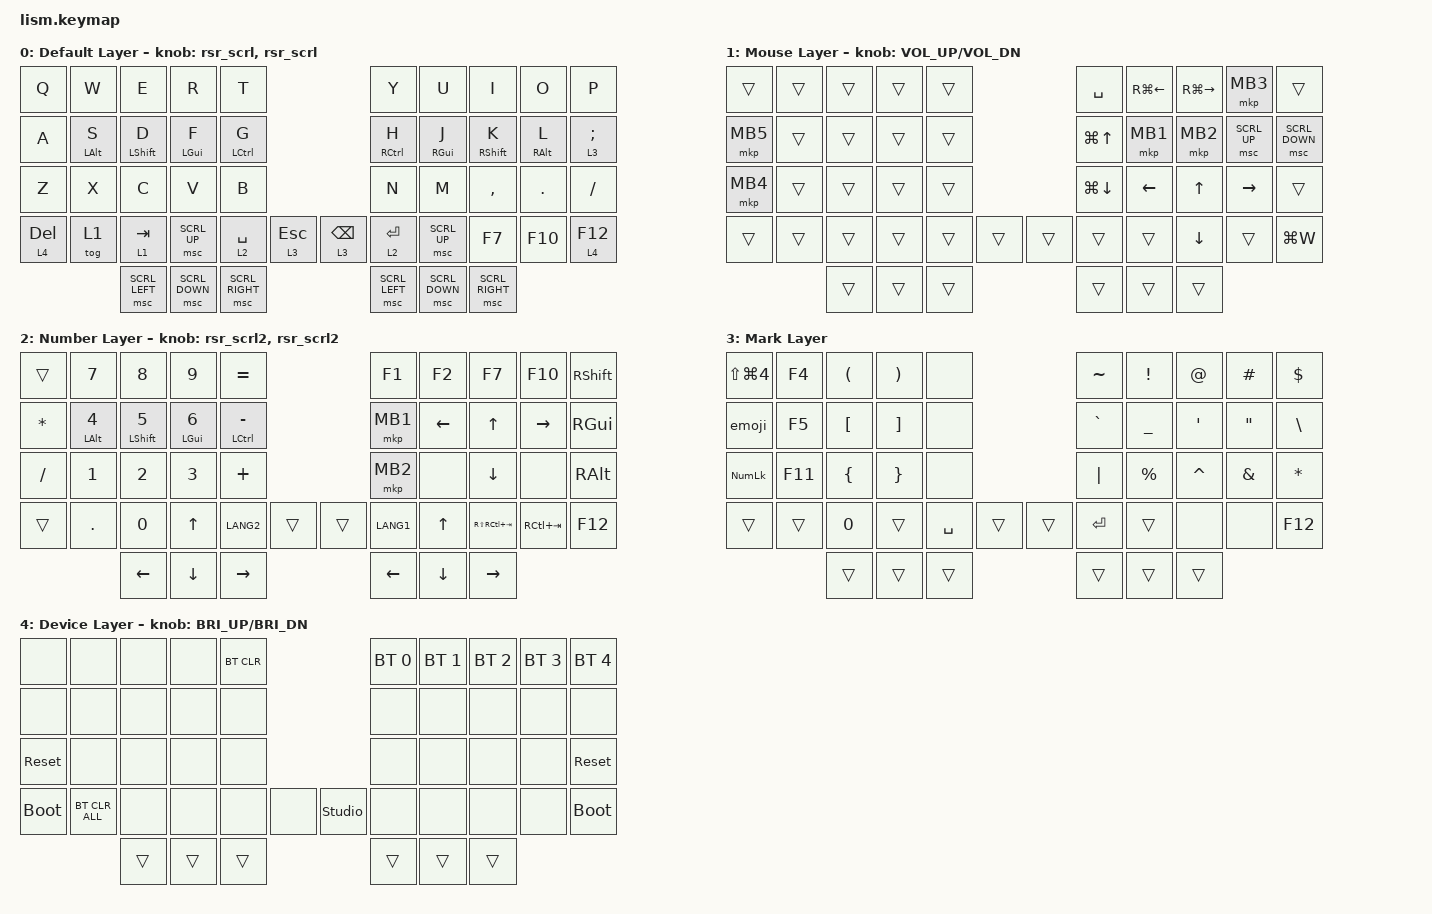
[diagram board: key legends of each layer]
#define ZMK_POINTING_DEFAULT_SCRL_VAL 100

#include <behaviors.dtsi>
#include <dt-bindings/zmk/bt.h>
#include <dt-bindings/zmk/keys.h>
#include <dt-bindings/zmk/pointing.h>
#include <dt-bindings/zmk/mouse.h>
#include <behaviors/runtime-sensor-rotate.dtsi>
#include <behaviors/default_layer.dtsi>
#include <dt-bindings/zmk_behavior_default_layer/default_layer.h>

&mt {
    tapping-term-ms = <300>;
    flavor = "balanced";
};

&lt {
    quick-tap-ms = <300>;
};


/ {
    macros {
        emoji: emoji_macro {
            compatible = "zmk,behavior-macro";
            label = "EMOJI";
            #binding-cells = <0>;
            bindings = 
                <&macro_press &kp CAPSLOCK>,
                <&macro_tap &kp E>,
                <&macro_release &kp CAPSLOCK>;
        };
    };

    behaviors {
        encoder_kp: sensor_rotate_kp {
            compatible = "zmk,behavior-sensor-rotate-var";
            #sensor-binding-cells = <2>;
            bindings = <&kp>, <&kp>;
        };

        rsr_scrl: rsr_scrl {
            compatible = "zmk,behavior-runtime-sensor-rotate";
            #sensor-binding-cells = <0>;
            tap-ms = <20>;
            cw-binding = <&msc SCRL_DOWN>;
            ccw-binding = <&msc SCRL_UP>;
        };
        rsr_scrl2: rsr_scrl2 {
            compatible = "zmk,behavior-runtime-sensor-rotate";
            #sensor-binding-cells = <0>;
            tap-ms = <80>;
            cw-binding = <&msc SCRL_DOWN>;
            ccw-binding = <&msc SCRL_UP>;
        };
    };

    keymap {
        compatible = "zmk,keymap";

        default_layer {
            display-name = "Default Layer";
            bindings = <
                &kp Q            &kp W              &kp E                 &kp R                   &kp T                                                  &kp Y          &kp U            &kp I              &kp O               &kp P
                &kp A            &mt LALT S         &mt LSHIFT D          &mt LGUI F              &mt LCTRL G                                            &mt RCTRL H    &mt RGUI J       &mt RSHIFT K       &mt RALT L          &lt 3 SEMICOLON
                &kp Z            &kp X              &kp C                 &kp V                   &kp B                                                  &kp N          &kp M            &kp COMMA          &kp DOT             &kp SLASH
                &lt 4 DELETE     &tog 1             &lt 1 TAB             &msc SCRL_UP            &lt 2 SPACE       &lt 3 ESC           &lt 3 BACKSPACE  &lt 2 ENTER    &msc SCRL_UP     &kp F7             &kp F10             &lt 4 F12 
                                                    &msc SCRL_LEFT        &msc SCRL_DOWN          &msc SCRL_RIGHT                                        &msc SCRL_LEFT &msc SCRL_DOWN   &msc SCRL_RIGHT
            >;
            sensor-bindings = <&rsr_scrl &rsr_scrl>;
        };

        layer_1 {
            display-name = "Mouse Layer";
            bindings = <
                &trans           &trans             &trans                &trans                  &trans                                                 &kp SPACE      &kp RG(LEFT)     &kp RG(RIGHT)      &mkp MB3            &trans
                &mkp MB5         &trans             &trans                &trans                  &trans                                                 &kp LG(UP)     &mkp MB1         &mkp MB2           &msc SCRL_UP        &msc SCRL_DOWN
                &mkp MB4         &trans             &trans                &trans                  &trans                                                 &kp LG(DOWN)   &kp LEFT         &kp UP             &kp RIGHT           &trans
                &trans           &trans             &trans                &trans                  &trans            &trans              &trans           &trans         &trans           &kp DOWN           &trans              &kp LG(W)
                                                    &trans                &trans                  &trans                                                 &trans         &trans           &trans
            >;
            sensor-bindings = <&encoder_kp C_VOL_UP C_VOL_DN>;
        };

        layer_2 {
            display-name = "Number Layer";
            bindings = <
                &trans           &kp NUMBER_7       &kp NUMBER_8          &kp NUMBER_9            &kp EQUAL                                              &kp F1         &kp F2           &kp F7             &kp F10             &kp RSHIFT
                &kp ASTERISK     &mt LALT NUMBER_4  &mt LSHIFT NUMBER_5   &mt LGUI NUMBER_6       &mt LCTRL MINUS                                        &mkp MB1       &kp LEFT         &kp UP             &kp RIGHT           &kp RGUI
                &kp SLASH        &kp NUMBER_1       &kp NUMBER_2          &kp NUMBER_3            &kp PLUS                                               &mkp MB2       &none            &kp DOWN           &none               &kp RALT
                &trans           &kp DOT            &kp NUMBER_0          &kp UP                  &kp LANG2         &trans              &trans           &kp LANG1      &kp UP           &kp RS(RC(TAB))    &kp RC(TAB)         &kp F12 
                                                    &kp LEFT              &kp DOWN                &kp RIGHT                                              &kp LEFT       &kp DOWN         &kp RIGHT
            >;
            sensor-bindings = <&rsr_scrl2 &rsr_scrl2>;
        };

        layer_3 {
            display-name = "Mark Layer";
            bindings = <
                &kp LS(LG(N4))   &kp F4             &kp LEFT_PARENTHESIS  &kp RIGHT_PARENTHESIS   &none                                                  &kp TILDE      &kp EXCLAMATION  &kp AT_SIGN        &kp HASH            &kp DOLLAR
                &emoji           &kp F5             &kp LEFT_BRACKET      &kp RIGHT_BRACKET       &none                                                  &kp GRAVE      &kp UNDER        &kp SINGLE_QUOTE   &kp DOUBLE_QUOTES   &kp BACKSLASH
                &kp KP_NUMLOCK   &kp F11            &kp LEFT_BRACE        &kp RIGHT_BRACE         &none                                                  &kp PIPE       &kp PERCENT      &kp CARET          &kp AMPERSAND       &kp ASTERISK
                &trans           &trans             &kp NUMBER_0          &trans                  &kp SPACE         &trans              &trans           &kp ENTER      &trans           &none              &none               &kp F12 
                                                    &trans                &trans                  &trans                                                 &trans         &trans           &trans
            >;
        };

        layer_4 {
            display-name = "Device Layer";
            bindings = <
                &none            &none              &none                 &none                   &bt BT_CLR                                             &bt BT_SEL 0   &bt BT_SEL 1     &bt BT_SEL 2       &bt BT_SEL 3        &bt BT_SEL 4
                &none            &none              &none                 &none                   &none                                                  &none          &none            &none              &none               &none
                &sys_reset       &none              &none                 &none                   &none                                                  &none          &none            &none              &none               &sys_reset
                &bootloader      &bt BT_CLR_ALL     &none                 &none                   &none             &none               &studio_unlock   &none          &none            &none              &none               &bootloader
                                                    &trans                &trans                  &trans                                                 &trans         &trans           &trans
            >;
            sensor-bindings = <&encoder_kp C_BRI_UP C_BRI_DN>;
        };

        layer_5 {
            status = "reserved";
            display-name = "Brank Layer";
            bindings = <
                &trans           &trans             &trans                &trans                  &trans                                                 &trans       &trans           &trans             &trans              &trans
                &trans           &trans             &trans                &trans                  &trans                                                 &trans       &trans           &trans             &trans              &trans
                &trans           &trans             &trans                &trans                  &trans                                                 &trans       &trans           &trans             &trans              &trans
                &trans           &trans             &trans                &trans                  &trans            &trans              &trans           &trans       &trans           &trans             &trans              &trans
                                                    &trans                &trans                  &trans                                                 &trans       &trans           &trans
            >;
        };

        layer_6 {
            status = "reserved";
            display-name = "Brank Layer";
            bindings = <
                &trans           &trans             &trans                &trans                  &trans                                                 &trans       &trans           &trans             &trans              &trans
                &trans           &trans             &trans                &trans                  &trans                                                 &trans       &trans           &trans             &trans              &trans
                &trans           &trans             &trans                &trans                  &trans                                                 &trans       &trans           &trans             &trans              &trans
                &trans           &trans             &trans                &trans                  &trans            &trans              &trans           &trans       &trans           &trans             &trans              &trans
                                                    &trans                &trans                  &trans                                                 &trans       &trans           &trans
            >;
        };

        layer_7 {
            status = "reserved";
            display-name = "Brank Layer";
            bindings = <
                &trans           &trans             &trans                &trans                  &trans                                                 &trans       &trans           &trans             &trans              &trans
                &trans           &trans             &trans                &trans                  &trans                                                 &trans       &trans           &trans             &trans              &trans
                &trans           &trans             &trans                &trans                  &trans                                                 &trans       &trans           &trans             &trans              &trans
                &trans           &trans             &trans                &trans                  &trans            &trans              &trans           &trans       &trans           &trans             &trans              &trans
                                                    &trans                &trans                  &trans                                                 &trans       &trans           &trans
            >;
        };
    };

};
